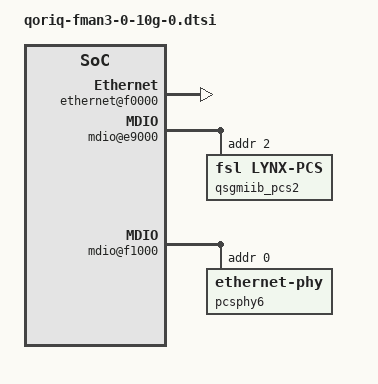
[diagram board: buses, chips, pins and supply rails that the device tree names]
fman@400000 {
	fman0_rx_0x10: port@90000 {
		cell-index = <0x10>;
		compatible = "fsl,fman-v3-port-rx";
		reg = <0x90000 0x1000>;
		fsl,fman-10g-port;
	};
	fman0_tx_0x30: port@b0000 {
		cell-index = <0x30>;
		compatible = "fsl,fman-v3-port-tx";
		reg = <0xb0000 0x1000>;
		fsl,fman-10g-port;
	};
	ethernet@f0000 {
		cell-index = <0x8>;
		compatible = "fsl,fman-memac";
		reg = <0xf0000 0x1000>;
		fsl,fman-ports = <&fman0_rx_0x10 &fman0_tx_0x30>;
		pcsphy-handle = <&pcsphy6>, <&qsgmiib_pcs2>, <&pcsphy6>;
		pcs-handle-names = "sgmii", "qsgmii", "xfi";
	};
	mdio@e9000 {
		qsgmiib_pcs2: ethernet-pcs@2 {
			compatible = "fsl,lynx-pcs";
			reg = <2>;
		};
	};
	mdio@f1000 {
		#address-cells = <1>;
		#size-cells = <0>;
		compatible = "fsl,fman-memac-mdio", "fsl,fman-xmdio";
		reg = <0xf1000 0x1000>;
		fsl,erratum-a011043;  
		pcsphy6: ethernet-phy@0 {
			reg = <0x0>;
		};
	};
};
